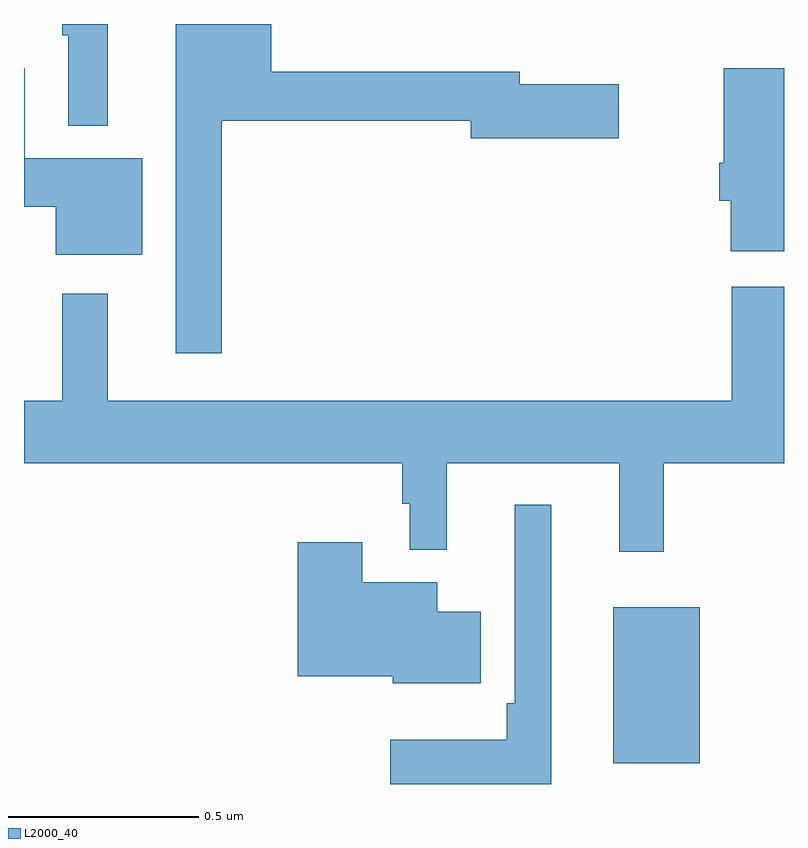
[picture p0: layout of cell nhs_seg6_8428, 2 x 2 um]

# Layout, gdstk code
import gdstk
lib = gdstk.Library(unit=1e-6, precision=1e-09)
def R(c, l, rs):  # rectangles x0, y0, x1, y1
    for r in rs: c.add(gdstk.rectangle(r[:2], r[2:], *l))
def P(c, l, *ps):  # polygons
    for p in ps: c.add(gdstk.Polygon(p, *l))
L2000_40 = (2000, 40)

nhs_seg6_8428 = lib.new_cell('nhs_seg6_8428')
R(nhs_seg6_8428, L2000_40, [(222.551,938.555,222.778,938.965)])
P(nhs_seg6_8428, L2000_40, [(221.221,940.5),(221.1,940.5),(221.1,940.471),(221.117,940.471),(221.117,940.232),(221.221,940.232)],
  [(221.521,940.246),(222.176,940.246),(222.176,940.199),(222.565,940.199),(222.565,940.341),(222.304,940.341),(222.304,940.375),(221.65,940.375),(221.65,940.5),(221.399,940.5),(221.399,939.633),(221.521,939.633)],
  [(221.311,940.147),(221.002,940.147),(221.002,940.384),(221,940.384),(221,940.019),(221.084,940.019),(221.084,939.893),(221.311,939.893)],
  [(223,940.384),(222.842,940.384),(222.842,940.135),(222.83,940.135),(222.83,940.035),(222.86,940.035),(222.86,939.902),(223,939.902)],
  [(222.683,939.344),(223,939.344),(223,939.808),(222.863,939.808),(222.863,939.508),(221.221,939.508),(221.221,939.79),(221.1,939.79),(221.1,939.508),(221,939.508),(221,939.344),(221.995,939.344),(221.995,939.237),(222.015,939.237),(222.015,939.116),(222.113,939.116),(222.113,939.344),(222.566,939.344),(222.566,939.111),(222.683,939.111)],
  [(222.388,939.235),(222.291,939.235),(222.291,938.713),(222.271,938.713),(222.271,938.617),(221.964,938.617),(221.964,938.5),(222.388,938.5)],
  [(222.202,938.953),(222.088,938.953),(222.088,939.031),(221.89,939.031),(221.89,939.136),(221.72,939.136),(221.72,938.783),(221.97,938.783),(221.97,938.765),(222.202,938.765)])

lib.write_gds('nhs_seg6_8428.gds')
